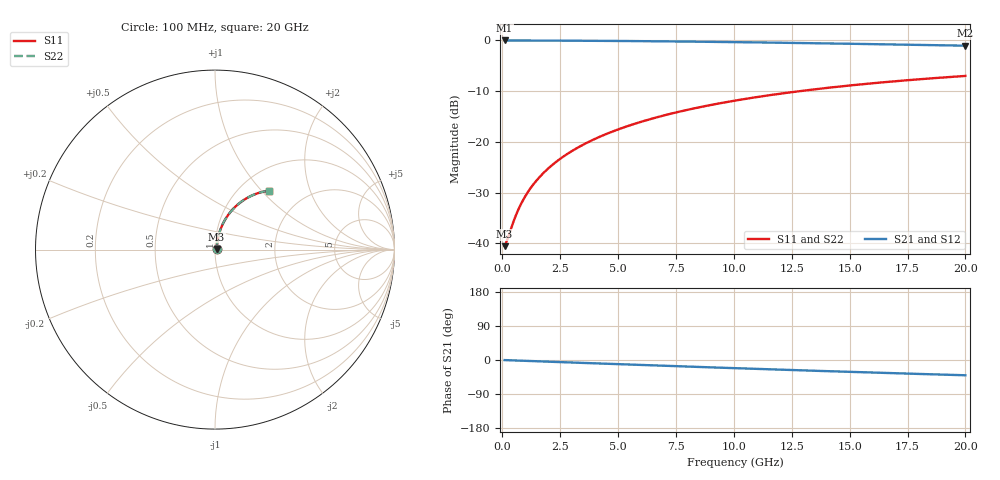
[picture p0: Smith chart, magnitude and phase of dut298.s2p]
! Touchstone file exported from HFSS 2026.1.0
!  File:  C:/ffzhzh/LocalFiles/Ansys_Project_Files/temp_train_TMRDL_298_1782985639_45328.aedt
!  Generated:  05:48:27 PM Jul  2, 2026
!  Design:  TMRDL
!  Project:  temp_train_TMRDL_298_1782985639_45328
! Variables:
!  h_bsmrdl = 2um
!  h_ox = 20um
!  h_rdl = 5um
!  h_sub = 80um
!  h_tmrdl = 2.09um
!  h_tsv = 80um
!  h_via = 3um
!  l_bsmrdl = 300um
!  l_sub = 940.78um
!  l_tmrdl = 540.78um
!  m_sub = 200um
!  pitch = 33.53um
!  r_tsv = 6um
!  s_tmrdl = 10um
!  w_bsmrdl = 18um
!  w_sub = 500um
!  w_tmrdl = 10.25um
!  x_tsv_center1 = 545.905um
!  x_tsv_center2 = 863.905um
!  x_tsv_center3 = 1414.935um
!  x_tsv_center4 = 1732.935um
!  x_tsv_center5 = 2283.965um
!  x_tsv_center6 = 2601.965um
# GHz S MA R 50.000000
! Terminal data exported
! Port[1] = TM_RDL1_1_T1
! Port[2] = TM_RDL1_1_T2
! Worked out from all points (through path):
!   200 points, 100 MHz to 20 GHz, reference 50 ohm
!   highest |S21| = -0.08 dB at 100 MHz (marker M1); lowest = -1.1 dB at 20 GHz (marker M2)
!   group delay of S21, straight-line fit = 5.61 ps
!   lowest |S11| = -40.6 dB at 100 MHz (marker M3), VSWR 1.02, Z = 50.9 + j0.284 ohm
!   |S11| at or under -10 dB: start of sweep to 12.94 GHz
!   |S22| runs from -40.6 to -7.1 dB; largest |S21 - S12| = 2.9e-15
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0.1  0.009376 17.3  0.9911 -0.2  0.9911 -0.2  0.009376 17.3
! Gamma 0 0 0 0
! Port Impedance 50 0 50 0
0.2  0.01061 31.7  0.991 -0.5  0.991 -0.5  0.01061 31.7
0.5  0.01677 55.5  0.9907 -1.1  0.9907 -1.1  0.01677 55.5
0.7  0.02165 62.6  0.9904 -1.6  0.9904 -1.6  0.02165 62.6
0.8  0.02416 64.9  0.9902 -1.8  0.9902 -1.8  0.02416 64.9
1  0.02925 68.3  0.9899 -2.3  0.9899 -2.3  0.02925 68.3
1.3  0.03693 71.3  0.9893 -2.9  0.9893 -2.9  0.03693 71.3
1.5  0.04207 72.6  0.989 -3.4  0.989 -3.4  0.04207 72.6
1.7  0.04722 73.6  0.9886 -3.8  0.9886 -3.8  0.04722 73.6
2.2  0.06011 75.0  0.9877 -4.9  0.9877 -4.9  0.06011 75.0
2.8  0.0756 75.6  0.9864 -6.2  0.9864 -6.2  0.0756 75.6
3.5  0.09364 75.5  0.9847 -7.7  0.9847 -7.7  0.09364 75.5
4.2  0.1116 75.0  0.9826 -9.2  0.9826 -9.2  0.1116 75.0
5  0.132 74.1  0.9799 -11.0  0.9799 -11.0  0.132 74.1
5.9  0.1546 72.8  0.9764 -12.9  0.9764 -12.9  0.1546 72.8
6.8  0.1769 71.3  0.9724 -14.8  0.9724 -14.8  0.1769 71.3
8.3  0.2131 68.7  0.9647 -18.0  0.9647 -18.0  0.2131 68.7
10.1  0.2548 65.4  0.9541 -21.7  0.9541 -21.7  0.2548 65.4
11.7  0.2901 62.5  0.9436 -24.9  0.9436 -24.9  0.2901 62.5
13.4  0.3257 59.3  0.9315 -28.2  0.9315 -28.2  0.3257 59.3
16.7  0.3887 53.4  0.9064 -34.4  0.9064 -34.4  0.3887 53.4
20  0.4436 47.7  0.8805 -40.3  0.8805 -40.3  0.4436 47.7
